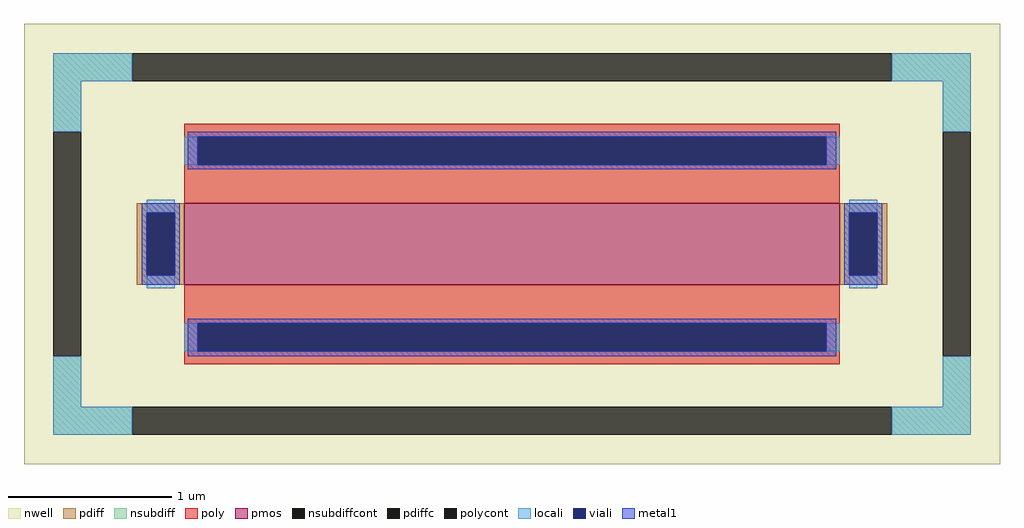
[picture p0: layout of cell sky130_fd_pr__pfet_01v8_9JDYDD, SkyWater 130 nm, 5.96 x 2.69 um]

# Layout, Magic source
magic
tech sky130A
magscale 1 2
<< nwell >>
rect -596 -269 596 269
<< pmos >>
rect -400 -50 400 50
<< pdiff >>
rect -458 38 -400 50
rect -458 -38 -446 38
rect -412 -38 -400 38
rect -458 -50 -400 -38
rect 400 38 458 50
rect 400 -38 412 38
rect 446 -38 458 38
rect 400 -50 458 -38
<< pdiffc >>
rect -446 -38 -412 38
rect 412 -38 446 38
<< nsubdiff >>
rect -560 199 -464 233
rect 464 199 560 233
rect -560 137 -526 199
rect 526 137 560 199
rect -560 -199 -526 -137
rect 526 -199 560 -137
rect -560 -233 -464 -199
rect 464 -233 560 -199
<< nsubdiffcont >>
rect -464 199 464 233
rect -560 -137 -526 137
rect 526 -137 560 137
rect -464 -233 464 -199
<< poly >>
rect -400 131 400 147
rect -400 97 -384 131
rect 384 97 400 131
rect -400 50 400 97
rect -400 -97 400 -50
rect -400 -131 -384 -97
rect 384 -131 400 -97
rect -400 -147 400 -131
<< polycont >>
rect -384 97 384 131
rect -384 -131 384 -97
<< locali >>
rect -560 199 -464 233
rect 464 199 560 233
rect -560 137 -526 199
rect 526 137 560 199
rect -400 97 -384 131
rect 384 97 400 131
rect -446 38 -412 54
rect -446 -54 -412 -38
rect 412 38 446 54
rect 412 -54 446 -38
rect -400 -131 -384 -97
rect 384 -131 400 -97
rect -560 -199 -526 -137
rect 526 -199 560 -137
rect -560 -233 -464 -199
rect 464 -233 560 -199
<< viali >>
rect -384 97 384 131
rect -446 -38 -412 38
rect 412 -38 446 38
rect -384 -131 384 -97
<< metal1 >>
rect -396 131 396 137
rect -396 97 -384 131
rect 384 97 396 131
rect -396 91 396 97
rect -452 38 -406 50
rect -452 -38 -446 38
rect -412 -38 -406 38
rect -452 -50 -406 -38
rect 406 38 452 50
rect 406 -38 412 38
rect 446 -38 452 38
rect 406 -50 452 -38
rect -396 -97 396 -91
rect -396 -131 -384 -97
rect 384 -131 396 -97
rect -396 -137 396 -131
<< properties >>
string FIXED_BBOX -543 -216 543 216
string gencell sky130_fd_pr__pfet_01v8
string library sky130
string parameters w 0.5 l 4.0 m 1 nf 1 diffcov 100 polycov 100 guard 1 glc 1 grc 1 gtc 1 gbc 1 tbcov 100 rlcov 100 topc 1 botc 1 poverlap 0 doverlap 1 lmin 0.15 wmin 0.42 class mosfet compatible {sky130_fd_pr__pfet_01v8  sky130_fd_pr__pfet_01v8_lvt sky130_fd_pr__pfet_01v8_hvt  sky130_fd_pr__pfet_g5v0d10v5} full_metal 1 viasrc 100 viadrn 100 viagate 100 viagb 0 viagr 0 viagl 0 viagt 0
<< end >>
